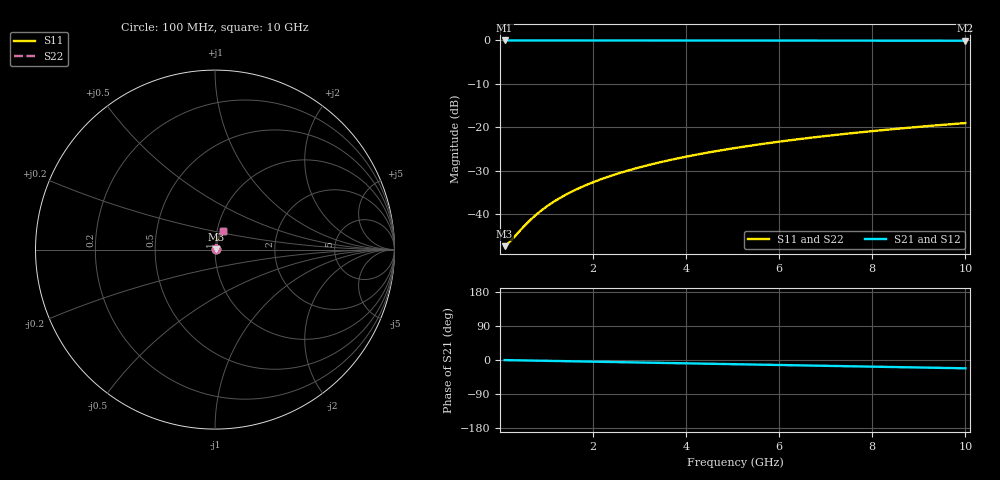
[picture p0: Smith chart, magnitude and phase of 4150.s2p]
# Hz S RI R 50.00
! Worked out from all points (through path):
!   100 points, 100 MHz to 10 GHz, reference 50 ohm
!   highest |S21| = -0.04 dB at 100 MHz (marker M1); lowest = -0.1 dB at 10 GHz (marker M2)
!   group delay of S21, straight-line fit = 6.09 ps
!   lowest |S11| = -47.3 dB at 100 MHz (marker M3), VSWR 1.01, Z = 50.4 + j0.114 ohm
!   |S11| at or under -10 dB: start of sweep to end of sweep
!   |S22| runs from -47.3 to -19.0 dB; largest |S21 - S12| = 0
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1e8  0.00416 0.00113  0.9958 -0.00382  0.9958 -0.00382  0.00416 0.00113
2e8  0.0042 0.00227  0.9958 -0.00763  0.9958 -0.00763  0.0042 0.00227
5e8  0.00434 0.00567  0.9956 -0.0191  0.9956 -0.0191  0.00434 0.00567
6e8  0.0044 0.0068  0.9955 -0.0229  0.9955 -0.0229  0.0044 0.0068
7e8  0.00447 0.00794  0.9953 -0.0267  0.9953 -0.0267  0.00447 0.00794
9e8  0.00462 0.0102  0.9951 -0.0343  0.9951 -0.0343  0.00462 0.0102
1.1e9  0.00481 0.0125  0.9947 -0.042  0.9947 -0.042  0.00481 0.0125
1.3e9  0.00503 0.0147  0.9943 -0.0496  0.9943 -0.0496  0.00503 0.0147
1.5e9  0.00529 0.017  0.9939 -0.0572  0.9939 -0.0572  0.00529 0.017
1.8e9  0.00574 0.0203  0.9931 -0.0686  0.9931 -0.0686  0.00574 0.0203
2.1e9  0.00626 0.0237  0.9921 -0.08  0.9921 -0.08  0.00626 0.0237
2.5e9  0.00707 0.0282  0.9906 -0.0952  0.9906 -0.0952  0.00707 0.0282
2.9e9  0.00802 0.0326  0.9889 -0.1103  0.9889 -0.1103  0.00802 0.0326
3.4e9  0.0094 0.0381  0.9863 -0.1292  0.9863 -0.1292  0.0094 0.0381
3.8e9  0.0107 0.0424  0.984 -0.1443  0.984 -0.1443  0.0107 0.0424
4.2e9  0.012 0.0467  0.9815 -0.1593  0.9815 -0.1593  0.012 0.0467
5.1e9  0.0156 0.0563  0.9748 -0.1929  0.9748 -0.1929  0.0156 0.0563
5.9e9  0.0194 0.0645  0.9679 -0.2226  0.9679 -0.2226  0.0194 0.0645
6.7e9  0.0236 0.0725  0.96 -0.2519  0.96 -0.2519  0.0236 0.0725
7.5e9  0.0283 0.0802  0.9511 -0.2809  0.9511 -0.2809  0.0283 0.0802
8.4e9  0.0341 0.0885  0.94 -0.3132  0.94 -0.3132  0.0341 0.0885
1e10  0.0459 0.1021  0.9175 -0.3693  0.9175 -0.3693  0.0459 0.1021
